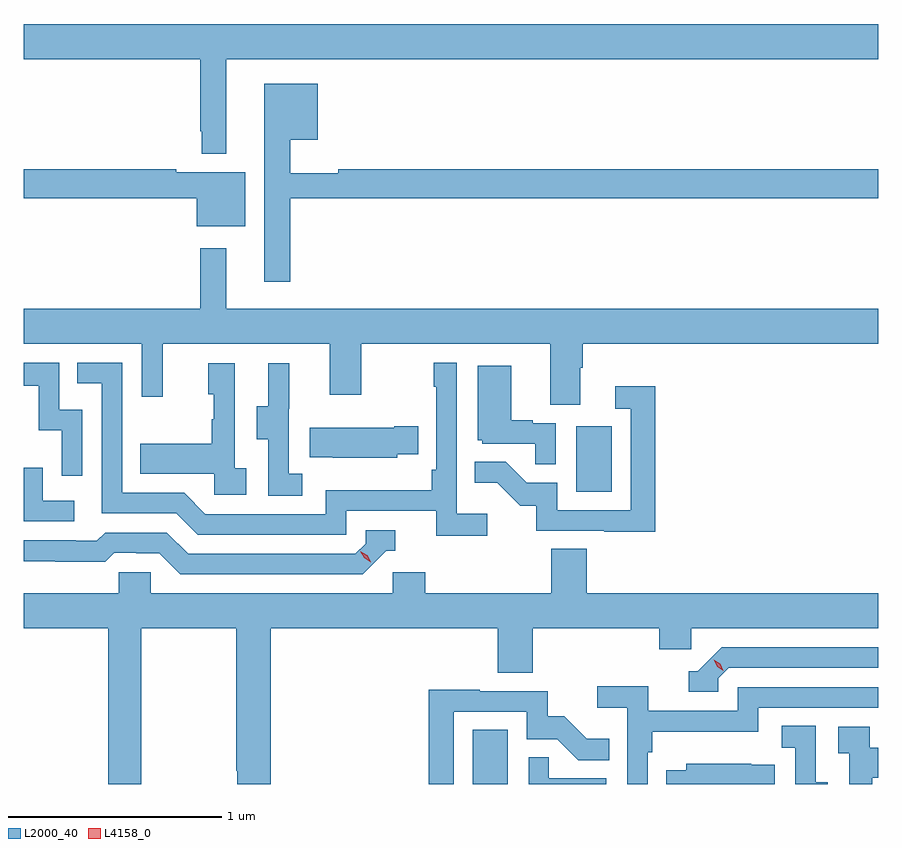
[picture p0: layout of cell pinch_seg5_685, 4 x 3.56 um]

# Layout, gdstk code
import gdstk
lib = gdstk.Library(unit=1e-6, precision=1e-09)
def R(c, l, rs):  # rectangles x0, y0, x1, y1
    for r in rs: c.add(gdstk.rectangle(r[:2], r[2:], *l))
def P(c, l, *ps):  # polygons
    for p in ps: c.add(gdstk.Polygon(p, *l))
L2000_40 = (2000, 40)
L4158_0 = (4158, 0)

pinch_seg5_685 = lib.new_cell('pinch_seg5_685')
R(pinch_seg5_685, L2000_40, [(1129.688,841.38,1129.852,841.633), (1130.174,842.748,1130.338,843.055)])
P(pinch_seg5_685, L2000_40, [(1128.535,844.772),(1131.587,844.772),(1131.587,844.936),(1127.587,844.936),(1127.587,844.772),(1128.414,844.772),(1128.414,844.435),(1128.42,844.435),(1128.42,844.328),(1128.535,844.328)],
  [(1128.835,844.12),(1131.587,844.12),(1131.587,844.256),(1129.06,844.256),(1129.06,844.237),(1128.835,844.237),(1128.835,844.394),(1128.964,844.394),(1128.964,844.657),(1128.713,844.657),(1128.713,843.729),(1128.835,843.729)],
  [(1128.625,844.243),(1128.302,844.243),(1128.302,844.256),(1127.587,844.256),(1127.587,844.12),(1128.398,844.12),(1128.398,843.989),(1128.625,843.989)],
  [(1130.191,843.328),(1130.204,843.328),(1130.204,843.44),(1131.587,843.44),(1131.587,843.604),(1128.535,843.604),(1128.535,843.886),(1128.414,843.886),(1128.414,843.604),(1127.587,843.604),(1127.587,843.44),(1128.141,843.44),(1128.141,843.192),(1128.239,843.192),(1128.239,843.44),(1129.019,843.44),(1129.019,843.201),(1129.167,843.201),(1129.167,843.44),(1130.051,843.44),(1130.051,843.154),(1130.191,843.154)],
  [(1129.756,842.644),(1129.614,842.644),(1129.614,843.352),(1129.506,843.352),(1129.506,843.239),(1129.518,843.239),(1129.518,842.851),(1129.498,842.851),(1129.498,842.755),(1129.002,842.755),(1129.002,842.643),(1128.438,842.643),(1128.339,842.742),(1128.048,842.742),(1128.048,843.351),(1127.839,843.351),(1127.839,843.255),(1127.952,843.255),(1127.952,842.646),(1128.302,842.646),(1128.401,842.547),(1129.098,842.547),(1129.098,842.658),(1129.517,842.658),(1129.517,842.542),(1129.756,842.542)],
  [(1127.862,843.132),(1127.754,843.132),(1127.754,843.351),(1127.587,843.351),(1127.587,843.243),(1127.657,843.243),(1127.657,843.035),(1127.766,843.035),(1127.766,842.823),(1127.862,842.823)],
  [(1128.628,842.858),(1128.576,842.858),(1128.576,843.349),(1128.452,843.349),(1128.452,843.204),(1128.478,843.204),(1128.478,843.086),(1128.468,843.086),(1128.468,842.971),(1128.133,842.971),(1128.133,842.831),(1128.48,842.831),(1128.48,842.733),(1128.628,842.733)],
  [(1128.892,842.831),(1128.828,842.831),(1128.828,843.135),(1128.83,843.135),(1128.83,843.349),(1128.731,843.349),(1128.731,843.147),(1128.677,843.147),(1128.677,842.992),(1128.732,842.992),(1128.732,842.728),(1128.892,842.728)],
  [(1130.076,843.069),(1129.97,843.069),(1129.97,843.082),(1129.87,843.082),(1129.87,843.337),(1129.712,843.337),(1129.712,842.988),(1129.734,842.988),(1129.734,842.973),(1129.981,842.973),(1129.981,842.875),(1130.076,842.875)],
  [(1130.543,843.241),(1130.355,843.241),(1130.355,843.135),(1130.427,843.135),(1130.427,842.661),(1130.085,842.661),(1130.085,842.79),(1129.941,842.79),(1129.843,842.888),(1129.699,842.888),(1129.699,842.789),(1129.803,842.789),(1129.91,842.682),(1129.987,842.682),(1129.987,842.565),(1130.305,842.565),(1130.305,842.56),(1130.543,842.56)],
  [(1129.335,842.924),(1129.433,842.924),(1129.433,843.054),(1129.322,843.054),(1129.322,843.046),(1128.925,843.046),(1128.925,842.909),(1129.033,842.909),(1129.033,842.906),(1129.335,842.906)],
  [(1127.824,842.706),(1127.676,842.706),(1127.676,842.86),(1127.587,842.86),(1127.587,842.61),(1127.824,842.61)],
  [(1129.284,842.472),(1129.327,842.472),(1129.327,842.568),(1129.188,842.568),(1129.188,842.505),(1129.14,842.457),(1128.357,842.457),(1128.258,842.556),(1127.969,842.556),(1127.93,842.517),(1127.831,842.517),(1127.831,842.52),(1127.587,842.52),(1127.587,842.423),(1127.736,842.423),(1127.736,842.421),(1127.969,842.421),(1128.011,842.463),(1128.114,842.463),(1128.114,842.46),(1128.221,842.46),(1128.32,842.361),(1129.173,842.361)],
  [(1128.138,842.108),(1128.583,842.108),(1128.583,841.441),(1128.587,841.441),(1128.587,841.38),(1128.743,841.38),(1128.743,842.108),(1129.805,842.108),(1129.805,841.9),(1129.97,841.9),(1129.97,842.108),(1130.561,842.108),(1130.561,842.01),(1130.712,842.01),(1130.712,842.108),(1131.587,842.108),(1131.587,842.272),(1130.222,842.272),(1130.222,842.48),(1130.057,842.48),(1130.057,842.272),(1129.466,842.272),(1129.466,842.37),(1129.314,842.37),(1129.314,842.272),(1128.183,842.272),(1128.183,842.37),(1128.033,842.37),(1128.033,842.272),(1127.587,842.272),(1127.587,842.108),(1127.983,842.108),(1127.983,841.38),(1128.138,841.38)],
  [(1130.838,841.875),(1130.886,841.923),(1131.587,841.923),(1131.587,842.019),(1130.853,842.019),(1130.742,841.908),(1130.699,841.908),(1130.699,841.812),(1130.838,841.812)],
  [(1130.508,841.529),(1130.528,841.529),(1130.528,841.625),(1131.024,841.625),(1131.024,841.737),(1131.587,841.737),(1131.587,841.833),(1130.928,841.833),(1130.928,841.722),(1130.51,841.722),(1130.51,841.838),(1130.271,841.838),(1130.271,841.736),(1130.412,841.736),(1130.412,841.38),(1130.508,841.38)],
  [(1129.599,841.719),(1129.941,841.719),(1129.941,841.59),(1130.085,841.59),(1130.183,841.492),(1130.327,841.492),(1130.327,841.591),(1130.223,841.591),(1130.116,841.698),(1130.04,841.698),(1130.04,841.815),(1129.721,841.815),(1129.721,841.82),(1129.483,841.82),(1129.483,841.38),(1129.599,841.38)],
  [(1131.349,841.389),(1131.294,841.389),(1131.294,841.652),(1131.135,841.652),(1131.135,841.549),(1131.198,841.549),(1131.198,841.38),(1131.349,841.38)],
  [(1131.559,841.409),(1131.587,841.409),(1131.587,841.549),(1131.546,841.549),(1131.546,841.647),(1131.399,841.647),(1131.399,841.523),(1131.45,841.523),(1131.45,841.38),(1131.559,841.38)],
  [(1130.314,841.407),(1130.045,841.407),(1130.045,841.505),(1129.95,841.505),(1129.95,841.38),(1130.314,841.38)],
  [(1131.101,841.471),(1130.993,841.471),(1130.993,841.474),(1130.687,841.474),(1130.687,841.444),(1130.593,841.444),(1130.593,841.38),(1131.101,841.38)])
P(pinch_seg5_685, L4158_0, [(1130.862,841.909),(1130.832,841.929),(1130.816,841.962),(1130.816,841.962),(1130.816,841.962),(1130.847,841.942),(1130.862,841.91),(1130.862,841.909)],
  [(1129.211,842.418),(1129.18,842.438),(1129.163,842.47),(1129.163,842.47),(1129.163,842.47),(1129.194,842.451),(1129.211,842.419),(1129.211,842.418)])

lib.write_gds('pinch_seg5_685.gds')
